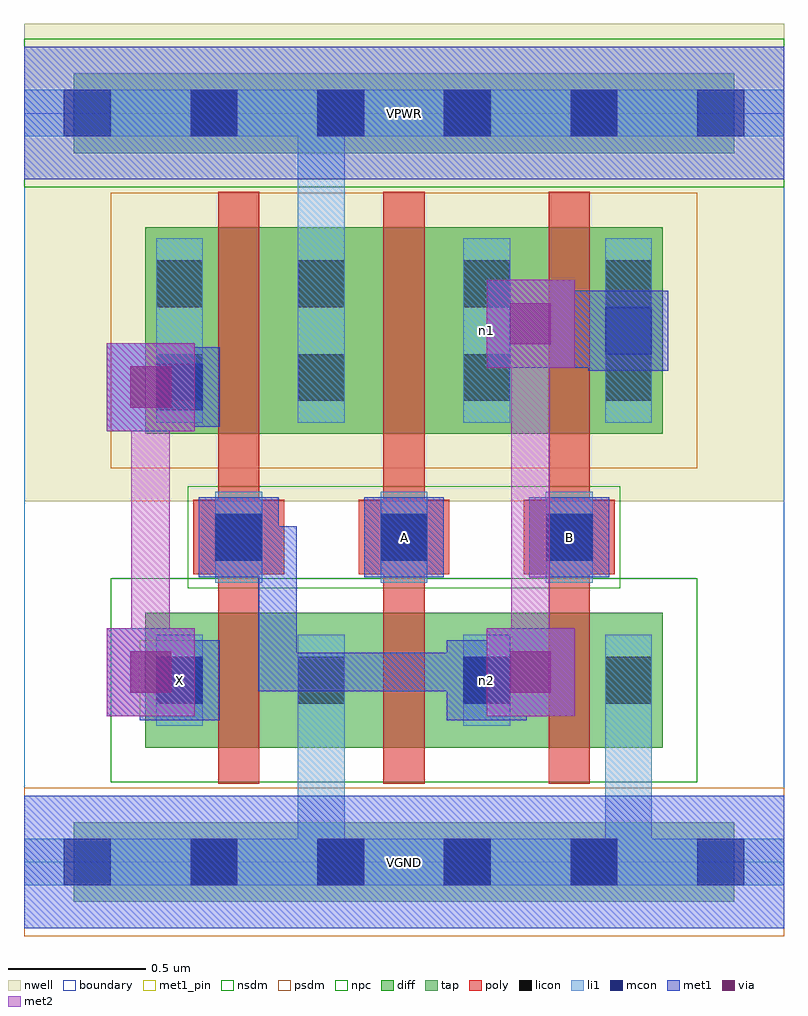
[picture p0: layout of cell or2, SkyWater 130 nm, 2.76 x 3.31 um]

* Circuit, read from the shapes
.subckt or2 A B VGND VPWR X n1 n2
XM1 VGND n2 X VGND sky130_fd_pr__nfet_01v8 w=0.49 l=0.15
XM2 n2 A VGND VGND sky130_fd_pr__nfet_01v8 w=0.49 l=0.15
XM3 VGND B n2 VGND sky130_fd_pr__nfet_01v8 w=0.49 l=0.15
XM4 VPWR n2 X VPWR sky130_fd_pr__pfet_01v8 w=0.75 l=0.15
XM5 n1 A VPWR VPWR sky130_fd_pr__pfet_01v8 w=0.75 l=0.15
XM6 n2 B n1 VPWR sky130_fd_pr__pfet_01v8 w=0.75 l=0.15
.ends

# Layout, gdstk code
import gdstk
lib = gdstk.Library(unit=1e-6, precision=1e-09)
def R(c, l, rs):  # rectangles x0, y0, x1, y1
    for r in rs: c.add(gdstk.rectangle(r[:2], r[2:], *l))
def A(c, l, x, y, w, h, nx, ny, dx, dy):  # array of equal rectangles
    R(c, l, [(x+i*dx, y+j*dy, x+i*dx+w, y+j*dy+h) for i in range(nx) for j in range(ny)])
nwell = (64, 20)
diff = (65, 20)
tap = (65, 44)
poly = (66, 20)
licon = (66, 44)
li1 = (67, 20)
mcon = (67, 44)
met1_pin = (68, 16)
met1 = (68, 20)
via = (68, 44)
met2 = (69, 20)
nsdm = (93, 44)
psdm = (94, 20)
npc = (95, 20)
boundary = (235, 4)

or2 = lib.new_cell('or2')
R(or2, nwell, [(0,1.31,2.76,3.045)])
R(or2, diff, [(0.44,0.415,2.32,0.905), (0.44,1.555,2.32,2.305)])
R(or2, tap, [(0.18,-0.145,2.58,0.145), (0.18,2.575,2.58,2.865)])
A(or2, poly, 0.705, 0.285, 0.15, 2.15, 3, 1, 0.6, 0)
A(or2, poly, 0.615, 1.045, 0.33, 0.27, 3, 1, 0.6, 0)
A(or2, licon, 0.605, -0.085, 0.17, 0.17, 4, 2, 0.46, 2.72)
A(or2, licon, 0.695, 1.095, 0.17, 0.17, 3, 1, 0.6, 0)
R(or2, licon, [(0.48,0.575,0.65,0.745), (0.995,0.575,1.165,0.745), (1.595,0.575,1.765,0.745), (2.11,0.575,2.28,0.745), (0.48,1.675,0.65,1.845), (0.995,1.675,1.165,1.845), (1.595,1.675,1.765,1.845), (2.11,1.675,2.28,1.845), (0.48,2.015,0.65,2.185), (0.995,2.015,1.165,2.185), (1.595,2.015,1.765,2.185), (2.11,2.015,2.28,2.185)])
A(or2, li1, 0.695, 1.015, 0.17, 0.33, 3, 1, 0.6, 0)
R(or2, li1, [(0,-0.085,2.76,0.085), (0.995,-0.085,1.165,0.825), (2.11,-0.085,2.28,0.825), (0.48,0.495,0.65,0.825), (0.995,0.495,1.165,0.825), (1.595,0.495,1.765,0.825), (2.11,0.495,2.28,0.825), (0.48,1.595,0.65,2.265), (0.995,1.595,1.165,2.265), (0.995,1.595,1.165,2.805), (1.595,1.595,1.765,2.265), (2.11,1.595,2.28,2.265), (0,2.635,2.76,2.805)])
A(or2, mcon, 0.145, -0.085, 0.17, 0.17, 6, 2, 0.46, 2.72)
A(or2, mcon, 0.695, 1.095, 0.17, 0.17, 3, 1, 0.6, 0)
R(or2, mcon, [(0.48,0.575,0.65,0.745), (1.595,0.575,1.765,0.745), (0.48,1.64,0.65,1.81), (2.11,1.845,2.28,2.015)])
R(or2, met1_pin, [(0,-0.24,2.76,0.24), (0.42,0.515,0.71,0.805), (1.235,1.035,1.525,1.325), (1.835,1.035,2.125,1.325), (0,2.48,2.76,2.96)])
A(or2, met1, 0.635, 1.035, 0.29, 0.29, 3, 1, 0.6, 0)
R(or2, met1, [(0,-0.24,2.76,0.24), (0.42,0.515,0.71,0.805), (1.535,0.515,1.825,0.805), (0.3,0.53,0.62,0.85), (1.68,0.53,2,0.85), (0.39,0.62,0.645,0.76), (0.505,0.62,0.645,0.76), (0.85,0.62,1.795,0.76), (0.85,0.62,0.99,1.22), (1.655,0.62,1.795,0.76), (1.655,0.62,1.91,0.76), (0.735,1.08,0.875,1.22), (0.735,1.08,0.99,1.22), (0.3,1.565,0.62,1.885), (0.42,1.58,0.71,1.87), (0.39,1.655,0.635,1.795), (2.05,1.785,2.34,2.075), (1.68,1.795,2,2.115), (2,1.795,2.05,2.075), (1.77,1.885,2.255,2.025), (2.115,1.885,2.255,2.025), (0,2.48,2.76,2.96)])
R(or2, via, [(0.385,0.615,0.535,0.765), (1.765,0.615,1.915,0.765), (0.385,1.65,0.535,1.8), (1.765,1.88,1.915,2.03)])
R(or2, met2, [(0.3,0.53,0.62,0.85), (1.68,0.53,2,0.85), (0.39,0.62,0.53,1.795), (1.77,0.62,1.91,2.025), (0.3,1.565,0.62,1.885), (1.68,1.795,2,2.115)])
R(or2, nsdm, [(0.315,0.29,2.445,1.03), (0,2.45,2.76,2.99)])
R(or2, psdm, [(0,-0.27,2.76,0.27), (0.315,1.43,2.445,2.43)])
R(or2, npc, [(0.595,0.995,2.165,1.365)])
R(or2, boundary, [(0,0,2.76,2.72)])
or2.add(gdstk.Label('n2', (1.68,0.66), layer=67, texttype=5))
or2.add(gdstk.Label('n1', (1.68,1.93), layer=67, texttype=5))
or2.add(gdstk.Label('A', (1.38,1.18), layer=68, texttype=5))
or2.add(gdstk.Label('B', (1.98,1.18), layer=68, texttype=5))
or2.add(gdstk.Label('X', (0.565,0.66), layer=68, texttype=5))
or2.add(gdstk.Label('VPWR', (1.38,2.72), layer=68, texttype=5))
or2.add(gdstk.Label('VGND', (1.38,0), layer=68, texttype=5))
or2.add(gdstk.Label('A', (1.38,1.18), layer=68, texttype=16))
or2.add(gdstk.Label('B', (1.98,1.18), layer=68, texttype=16))
or2.add(gdstk.Label('X', (0.565,0.66), layer=68, texttype=16))
or2.add(gdstk.Label('VPWR', (1.38,2.72), layer=68, texttype=16))
or2.add(gdstk.Label('VGND', (1.38,0), layer=68, texttype=16))

lib.write_gds('or2.gds')
